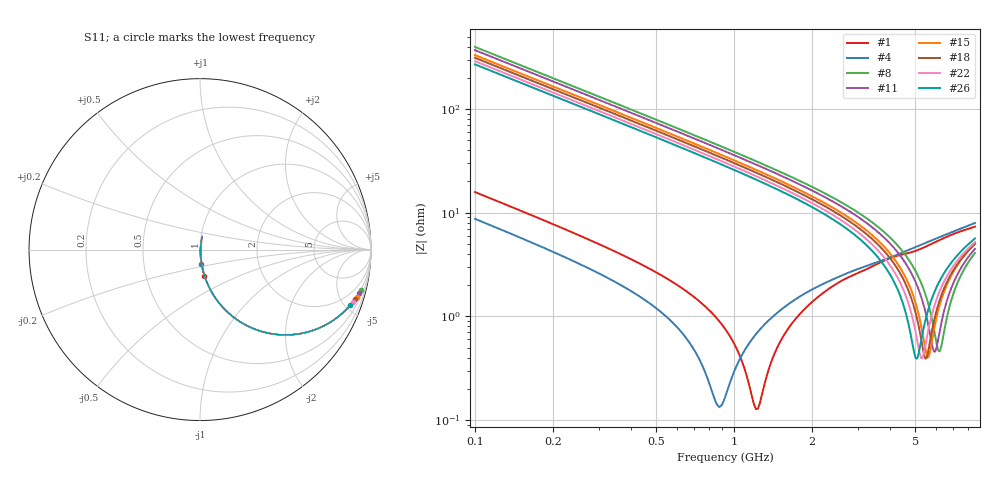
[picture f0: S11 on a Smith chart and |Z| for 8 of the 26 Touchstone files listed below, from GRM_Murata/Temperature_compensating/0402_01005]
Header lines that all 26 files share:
!These Parameters are Measured in Series Mode Connection
!Data Generated on Mar 30, 2021
!  o--ll--o
!Port1  Port2
!  o------o
!Operation Temp=25[degC], DC Bias Voltage=0[V]
!Freq. Start=100[MHz] Stop=9[GHz] 401[Steps]
# Hz S RI R 50
!Freq.(Hz) S11(Real) S11(Imag) S21(Real) S21(Imag) S12(Real) S12(Imag) S22(Real) S22(Imag)
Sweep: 100 MHz to 8.5 GHz
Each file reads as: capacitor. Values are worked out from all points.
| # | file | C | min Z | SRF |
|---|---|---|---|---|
| 1 | GRM0222C0J101JA02.s2p | 100 pF | 127 mohm | 1.224 GHz |
| 2 | GRM0222C0J111GA02.s2p | 110 pF | 172 mohm | 1.085 GHz |
| 3 | GRM0222C0J151GA02.s2p | 150 pF | 149 mohm | 952.3 MHz |
| 4 | GRM0222C0J181GA02.s2p | 180 pF | 133 mohm | 880.6 MHz |
| 5 | GRM0222C0J221GA02.s2p | 220 pF | 113 mohm | 799.9 MHz |
| 6 | GRM0222C0J560GA02.s2p | 56 pF | 201 mohm | 1.549 GHz |
| 7 | GRM0222C0J820GA02.s2p | 82 pF | 144 mohm | 1.332 GHz |
| 8 | GRM0222C1C4R0CA03.s2p | 4 pF | 459 mohm | 6.19 GHz |
| 9 | GRM0222C1C4R1WA03.s2p | 4.1 pF | 463 mohm | 6.089 GHz |
| 10 | GRM0222C1C4R2BA03.s2p | 4.2 pF | 459 mohm | 6.015 GHz |
| 11 | GRM0222C1C4R3BA03.s2p | 4.3 pF | 454 mohm | 5.943 GHz |
| 12 | GRM0222C1C4R4WA03.s2p | 4.4 pF | 440 mohm | 5.895 GHz |
| 13 | GRM0222C1C4R5WA03.s2p | 4.5 pF | 438 mohm | 5.827 GHz |
| 14 | GRM0222C1C4R7CA03.s2p | 4.7 pF | 405 mohm | 5.656 GHz |
| 15 | GRM0222C1C4R8BA03.s2p | 4.8 pF | 403 mohm | 5.596 GHz |
| 16 | GRM0222C1C4R9WA03.s2p | 4.9 pF | 402 mohm | 5.559 GHz |
| 17 | GRM0222C1C5R0BA03.s2p | 5 pF | 400 mohm | 5.502 GHz |
| 18 | GRM0222C1C5R1BA03.s2p | 5.1 pF | 391 mohm | 5.492 GHz |
| 19 | GRM0222C1C5R2BA03.s2p | 5.2 pF | 389 mohm | 5.438 GHz |
| 20 | GRM0222C1C5R3DA03.s2p | 5.3 pF | 397 mohm | 5.402 GHz |
| 21 | GRM0222C1C5R4WA03.s2p | 5.4 pF | 395 mohm | 5.35 GHz |
| 22 | GRM0222C1C5R5CA03.s2p | 5.5 pF | 392 mohm | 5.301 GHz |
| 23 | GRM0222C1C5R6BA03.s2p | 5.6 pF | 390 mohm | 5.235 GHz |
| 24 | GRM0222C1C5R7BA03.s2p | 5.7 pF | 394 mohm | 5.217 GHz |
| 25 | GRM0222C1C5R8CA03.s2p | 5.8 pF | 392 mohm | 5.171 GHz |
| 26 | GRM0222C1C5R9BA03.s2p | 5.9 pF | 390 mohm | 5.059 GHz |
